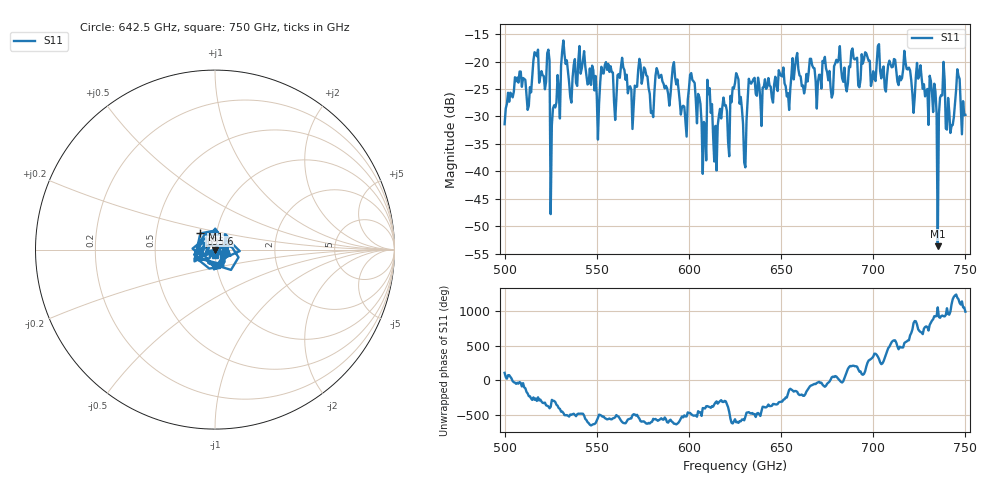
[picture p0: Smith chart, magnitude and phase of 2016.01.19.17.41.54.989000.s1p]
!Created with skrf (http://scikit-rf.org).
# GHz S RI R 50.0
!freq ReS11 ImS11
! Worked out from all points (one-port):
!   401 points, 500 GHz to 750 GHz, reference 50 ohm
!   lowest |S11| = -53.7 dB at 735 GHz (marker M1), VSWR 1.00, Z = 50.2 - j0.0965 ohm
!   |S11| at or under -10 dB: start of sweep to end of sweep
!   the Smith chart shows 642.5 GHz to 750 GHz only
!   S11 on the Smith chart (normalised r, x): 642.5 GHz: 1.12, -0.04; 695.6 GHz: 0.84, +0.15; 750 GHz: 1.00, -0.07
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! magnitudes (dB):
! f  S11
! 500 GHz  -31.4
! 507.5 GHz  -23.8
! 513.1 GHz  -28.1
! 516.9 GHz  -18.5
! 523.1 GHz  -18.5
! 526.2 GHz  -28.5
! 531.2 GHz  -18.1
! 550 GHz  -26.2
! 562.5 GHz  -23.0
! 593.8 GHz  -23.3
! 597.5 GHz  -28.2
! 601.9 GHz  -23.4
! 608.1 GHz  -31.0
! 611.2 GHz  -24.9
! 614.4 GHz  -31.7
! 625 GHz  -23.9
! 630 GHz  -38.4
! 633.8 GHz  -24.0
! 642.5 GHz  -24.6
! 656.2 GHz  -19.4
! 687.5 GHz  -21.0
! 695.6 GHz  -18.3
! 718.8 GHz  -21.4
! 731.9 GHz  -25.7
! 735 GHz  -53.7
! 737.5 GHz  -26.2
! 740.6 GHz  -26.6
! 750 GHz  -29.7
